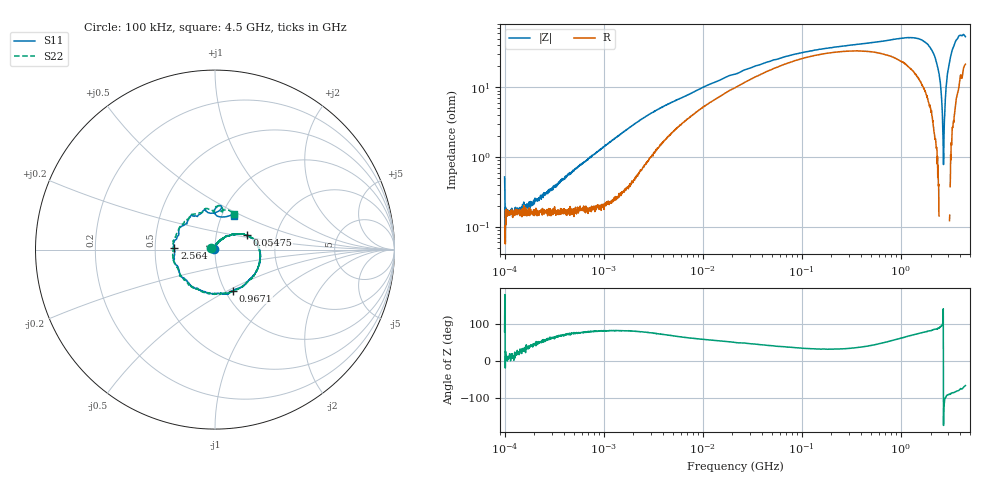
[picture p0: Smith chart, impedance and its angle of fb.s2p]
!Keysight Technologies,E5080A,MY55200853,A.11.70.00
!Date: Tuesday, July 02, 2024 14:48:11
!Correction: S11(Full 2 Port(1,2))
!S21(Full 2 Port(1,2))
!S12(Full 2 Port(1,2))
!S22(Full 2 Port(1,2))
!S2P File: Measurements: S11, S21, S12, S22:Log Frequency Sweep
# Hz S  RI  R 50
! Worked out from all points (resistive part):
!   2001 points, 100 kHz to 4.5 GHz, reference 50 ohm
!   read as one part in series: R = 173 mohm at 105.5 kHz
!   S11 on the Smith chart (normalised r, x): 100 kHz: 0.99, +0.01; 54.75 MHz: 1.40, +0.23; 967.1 MHz: 1.09, -0.53; 2.564 GHz: 0.63, +0.01; 4.5 GHz: 1.14, +0.45
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100000  -0.00505 0.00566  0.9848 -0.00295  0.9844 -0.000151  -0.0217 0.0117
106639.8  0.00229 -0.000797  0.9989 3.48e-05  0.9996 -0.000764  0.00255 7.24e-05
116807.7  0.00266 0.000285  0.9993 -0.000686  0.9996 -0.000464  0.00306 0.000745
141654.2  0.00271 8.14e-05  0.9993 -0.00105  0.9996 -0.00141  0.00327 6.06e-05
158521.5  0.00398 0.000423  0.9987 -0.00206  0.9993 -0.00157  0.00118 0.000496
179308.2  0.00255 0.000857  0.9994 -0.00205  0.9997 -0.00193  0.00239 -0.000326
273780.2  0.00416 0.00327  1.001 -0.00359  1 -0.00306  0.0033 0.000734
598530.8  0.00283 0.00784  0.9993 -0.00843  0.9994 -0.00775  0.00313 0.0069
3563251  0.017 0.0392  0.9847 -0.0505  0.9866 -0.0496  0.0162 0.0421
2.132715e7  0.1034 0.0851  0.9017 -0.1105  0.9018 -0.1098  0.1038 0.0833
5.475396e7  0.176 0.0793  0.8223 -0.1425  0.823 -0.1433  0.1757 0.0809
1.269676e8  0.2328 0.0309  0.7569 -0.1794  0.7571 -0.1794  0.2315 0.0329
3.384244e8  0.2484 -0.072  0.6777 -0.3047  0.6778 -0.3052  0.2476 -0.0705
7.558796e8  0.1629 -0.199  0.4816 -0.565  0.482 -0.5649  0.1645 -0.195
9.671114e8  0.0997 -0.2287  0.3426 -0.6625  0.3429 -0.6622  0.1054 -0.2294
1.697345e9  -0.1165 -0.211  -0.2593 -0.7114  -0.2588 -0.7117  -0.112 -0.2141
2.091741e9  -0.1978 -0.1294  -0.5465 -0.525  -0.5466 -0.5247  -0.1966 -0.1341
2.564005e9  -0.2265 0.0107  -0.7382 -0.167  -0.7381 -0.1668  -0.2319 -0.00149
2.93146e9  -0.2007 0.1138  -0.739 0.1529  -0.7393 0.153  -0.2068 0.104
3.315858e9  -0.1333 0.1901  -0.5979 0.452  -0.5983 0.4525  -0.1393 0.1874
3.831901e9  0.0103 0.2092  -0.2409 0.6971  -0.2407 0.6968  -0.0232 0.221
4.5e9  0.1049 0.1894  0.2817 0.6866  0.2821 0.6873  0.105 0.1977
